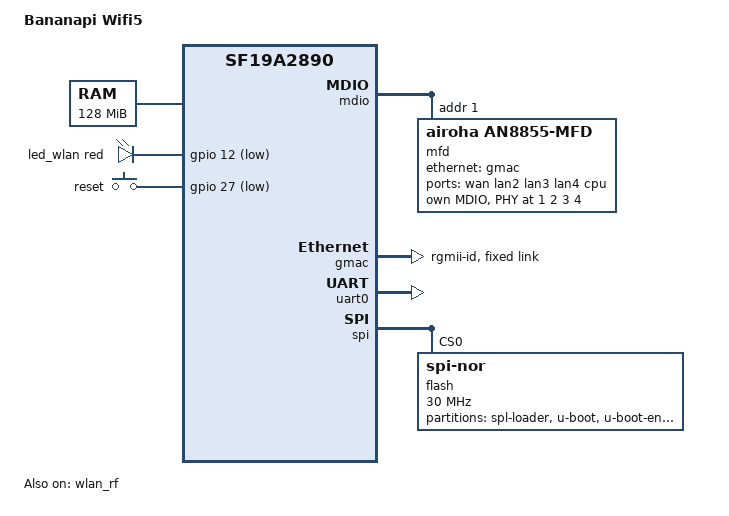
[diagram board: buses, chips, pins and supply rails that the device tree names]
/dts-v1/;
#include <dt-bindings/input/input.h>
#include <dt-bindings/leds/common.h>
#include "sf19a2890.dtsi"

/ {
	model = "Bananapi Wifi5";
	compatible = "bananapi,wifi5", "siflower,sf19a2890";

	chosen {
		stdout-path = "serial0:115200n8";
	};

	memory@0 {
		device_type = "memory";
		reg = <0x0 0x8000000>;
	};

	leds {
		compatible = "gpio-leds";

		led_wlan: wlan {
			function = LED_FUNCTION_WLAN;
			color = <LED_COLOR_ID_RED>;
			gpios = <&gpio 12 GPIO_ACTIVE_LOW>;
		};
	};

	keys {
		compatible = "gpio-keys";

		reset {
			label = "reset";
			gpios = <&gpio 27 GPIO_ACTIVE_LOW>;
			linux,code = <KEY_RESTART>;
		};
	};
};

&mdio {
	mfd: mfd@1 {
		compatible = "airoha,an8855-mfd";
		reg = <1>;
	};
};

&mfd {
	efuse {
		compatible = "airoha,an8855-efuse";
		#nvmem-cell-cells = <0>;

		nvmem-layout {
			compatible = "fixed-layout";
			#address-cells = <1>;
			#size-cells = <1>;

			shift_sel_port0_tx_a: shift-sel-port0-tx-a@c {
				reg = <0xc 0x4>;
			};

			shift_sel_port0_tx_b: shift-sel-port0-tx-b@10 {
				reg = <0x10 0x4>;
			};

			shift_sel_port0_tx_c: shift-sel-port0-tx-c@14 {
				reg = <0x14 0x4>;
			};

			shift_sel_port0_tx_d: shift-sel-port0-tx-d@18 {
				reg = <0x18 0x4>;
			};

			shift_sel_port1_tx_a: shift-sel-port1-tx-a@1c {
				reg = <0x1c 0x4>;
			};

			shift_sel_port1_tx_b: shift-sel-port1-tx-b@20 {
				reg = <0x20 0x4>;
			};

			shift_sel_port1_tx_c: shift-sel-port1-tx-c@24 {
				reg = <0x24 0x4>;
			};

			shift_sel_port1_tx_d: shift-sel-port1-tx-d@28 {
				reg = <0x28 0x4>;
			};

			shift_sel_port2_tx_a: shift-sel-port2-tx-a@2c {
				reg = <0x2c 0x4>;
			};

			shift_sel_port2_tx_b: shift-sel-port2-tx-b@30 {
				reg = <0x30 0x4>;
			};

			shift_sel_port2_tx_c: shift-sel-port2-tx-c@34 {
				reg = <0x34 0x4>;
			};

			shift_sel_port2_tx_d: shift-sel-port2-tx-d@38 {
				reg = <0x38 0x4>;
			};

			shift_sel_port3_tx_a: shift-sel-port3-tx-a@4c {
				reg = <0x4c 0x4>;
			};

			shift_sel_port3_tx_b: shift-sel-port3-tx-b@50 {
				reg = <0x50 0x4>;
			};

			shift_sel_port3_tx_c: shift-sel-port3-tx-c@54 {
				reg = <0x54 0x4>;
			};

			shift_sel_port3_tx_d: shift-sel-port3-tx-d@58 {
				reg = <0x58 0x4>;
			};
		};
	};

	ethernet-switch {
		compatible = "airoha,an8855-switch";
		reset-gpios = <&gpio 11 GPIO_ACTIVE_HIGH>;
		airoha,ext-surge;

		ports {
			#address-cells = <1>;
			#size-cells = <0>;

			port@0 {
				reg = <0>;
				label = "wan";
				phy-mode = "internal";
				phy-handle = <&internal_phy1>;
			};

			port@1 {
				reg = <1>;
				label = "lan2";
				phy-mode = "internal";
				phy-handle = <&internal_phy2>;
			};

			port@2 {
				reg = <2>;
				label = "lan3";
				phy-mode = "internal";
				phy-handle = <&internal_phy3>;
			};

			port@3 {
				reg = <3>;
				label = "lan4";
				phy-mode = "internal";
				phy-handle = <&internal_phy4>;
			};

			port@5 {
				reg = <5>;
				label = "cpu";
				ethernet = <&gmac>;
				phy-mode = "rgmii";

				fixed-link {
					speed = <1000>;
					full-duplex;
					pause;
				};
			};
		};
	};

	mdio {
		compatible = "airoha,an8855-mdio";
		#address-cells = <1>;
		#size-cells = <0>;

		internal_phy1: phy@1 {
			reg = <1>;

			nvmem-cells = <&shift_sel_port0_tx_a>,
					<&shift_sel_port0_tx_b>,
					<&shift_sel_port0_tx_c>,
					<&shift_sel_port0_tx_d>;
			nvmem-cell-names = "tx_a", "tx_b", "tx_c", "tx_d";
		};

		internal_phy2: phy@2 {
			reg = <2>;

			nvmem-cells = <&shift_sel_port1_tx_a>,
					<&shift_sel_port1_tx_b>,
					<&shift_sel_port1_tx_c>,
					<&shift_sel_port1_tx_d>;
			nvmem-cell-names = "tx_a", "tx_b", "tx_c", "tx_d";
		};

		internal_phy3: phy@3 {
			reg = <3>;

			nvmem-cells = <&shift_sel_port2_tx_a>,
					<&shift_sel_port2_tx_b>,
					<&shift_sel_port2_tx_c>,
					<&shift_sel_port2_tx_d>;
			nvmem-cell-names = "tx_a", "tx_b", "tx_c", "tx_d";
		};

		internal_phy4: phy@4 {
			reg = <4>;

			nvmem-cells = <&shift_sel_port3_tx_a>,
					<&shift_sel_port3_tx_b>,
					<&shift_sel_port3_tx_c>,
					<&shift_sel_port3_tx_d>;
			nvmem-cell-names = "tx_a", "tx_b", "tx_c", "tx_d";
		};
	};
};

&gmac {
	nvmem-cells = <&macaddr_factory_0 1>;
	nvmem-cell-names = "mac-address";

	status = "okay";
	phy-mode = "rgmii-id";
	snps,ps-speed = <1000>;
	fixed-link {
		speed = <1000>;
		full-duplex;
		pause;
	};
};

&wlan_rf {
	status = "okay";
};

&uart0 {
	status = "okay";
};

&spi {
	status = "okay";
	flash@0 {
		compatible = "jedec,spi-nor";
		reg = <0>;
		spi-max-frequency = <30000000>;

		#address-cells = <1>;
		#size-cells = <1>;

		partitions {
			compatible = "fixed-partitions";
			#address-cells = <1>;
			#size-cells = <1>;

			partition@0 {
				label = "spl-loader";
				reg = <0x0 0x20000>; /* 128k */
				read-only;
			};

			partition@20000 {
				label = "u-boot";
				reg = <0x20000 0x60000>; /* 384k */
			};

			partition@80000 {
				label = "u-boot-env";
				reg = <0x80000 0x10000>; /* 64k */
			};
			
/*
00000000  10 16 88 e5 98 ff ff ff  ff ff ff ff ff ff ff ff  |................|
00000010  ff ff ff ff ff ff ff 00  00 00 00 ff ff ff ff ff  |................|
00000020  ff ff ff ff ff ff ff ff  ff ff ff ff ff ff ff ff  |................|
*
000000a0  ff ff ff ff ff ff ff ff  ff ff ff ff ff ff 20 00  |.............. .|
000000b0  00 00 31 32 30 34 ff ff  ff ff ff ff ff ff ff ff  |..1204..........|
000000c0  ff ff ff ff ff ff ff ff  ff ff ff ff ff ff ff ff  |................|
*
00000800  56 34 10 00 0f 0e 0d 0c  0d 0d 0d 0c 0b 0a 09 08  |V4..............|
00000810  0d 0d 0c 0b 0a 09 08 08  0e 0e 0d 0c 0b 0a 09 09  |................|
00000820  0f 0e 0d 0c 0d 0d 0d 0c  0b 0a 09 08 0d 0d 0c 0b  |................|
00000830  0a 09 08 08 0e 0e 0d 0c  0b 0a 09 09 0f 0e 0d 0c  |................|
00000840  0d 0d 0d 0c 0b 0a 09 08  0d 0d 0c 0b 0a 09 08 08  |................|
00000850  0e 0e 0d 0c 0b 0a 09 09  0f 0e 0d 0c 0d 0d 0d 0c  |................|
00000860  0b 0a 09 08 0d 0d 0c 0b  0a 09 08 08 0e 0e 0d 0c  |................|
00000870  0b 0a 09 09 0f 0e 0d 0c  0d 0d 0d 0c 0b 0a 09 08  |................|
00000880  0d 0d 0c 0b 0a 09 08 08  0e 0e 0d 0c 0b 0a 09 09  |................|
00000890  0f 0f 0e 0d 0e 0e 0e 0d  0c 0b 0a 09 0e 0e 0d 0c  |................|
000008a0  0b 0a 09 09 0e 0e 0d 0c  0b 0a 09 09 0f 0f 0e 0d  |................|
000008b0  0e 0e 0e 0d 0c 0b 0a 09  0e 0e 0d 0c 0b 0a 09 09  |................|

macaddr is: 0X10 0X16 0X88 0XE5 0X98 0XFF 
get wifi version: 0X56 0X34 
get gmac delay: 0X31 0X32 0X30 0X34 




*/

			partition@90000 {
					label = "factory";
					reg = <0x90000 0x10000>; /* 64k */
	
					nvmem-layout {
						compatible = "fixed-layout";
						#address-cells = <1>;
						#size-cells = <1>;
	
						macaddr_factory_0: macaddr@0 {
							reg = <0x0 0x6>;
							#nvmem-cell-cells = <1>;
						};
					};
				};

			partition@a0000 {
				label = "firmware";
				reg = <0xa0000 0x760000>;
			};

		};
	};
};
